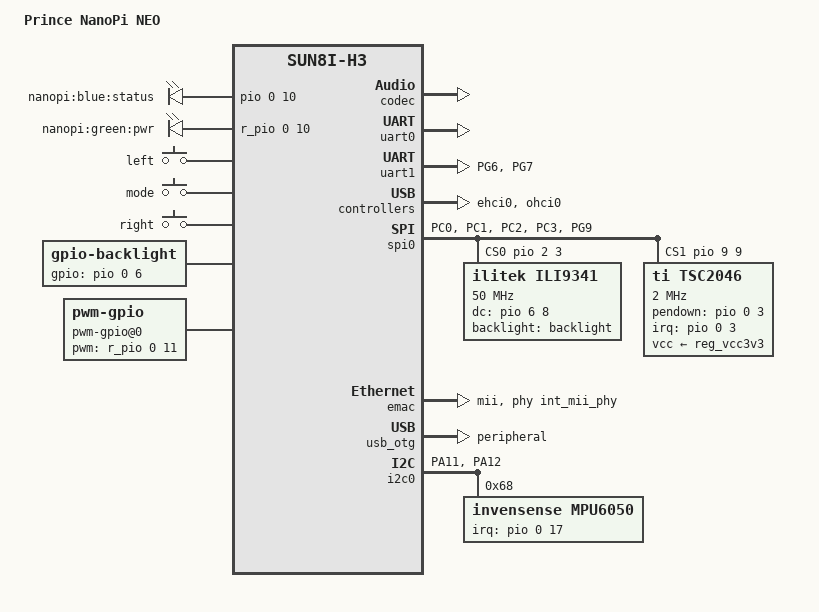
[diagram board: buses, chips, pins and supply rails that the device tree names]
/*
 * Copyright (C) 2016 James Pettigrew <james@innovum.com.au>
 *
 * This file is dual-licensed: you can use it either under the terms
 * of the GPL or the X11 license, at your option. Note that this dual
 * licensing only applies to this file, and not this project as a
 * whole.
 *
 *  a) This file is free software; you can redistribute it and/or
 *     modify it under the terms of the GNU General Public License as
 *     published by the Free Software Foundation; either version 2 of the
 *     License, or (at your option) any later version.
 *
 *     This file is distributed in the hope that it will be useful,
 *     but WITHOUT ANY WARRANTY; without even the implied warranty of
 *     MERCHANTABILITY or FITNESS FOR A PARTICULAR PURPOSE.  See the
 *     GNU General Public License for more details.
 *
 * Or, alternatively,
 *
 *  b) Permission is hereby granted, free of charge, to any person
 *     obtaining a copy of this software and associated documentation
 *     files (the "Software"), to deal in the Software without
 *     restriction, including without limitation the rights to use,
 *     copy, modify, merge, publish, distribute, sublicense, and/or
 *     sell copies of the Software, and to permit persons to whom the
 *     Software is furnished to do so, subject to the following
 *     conditions:
 *
 *     The above copyright notice and this permission notice shall be
 *     included in all copies or substantial portions of the Software.
 *
 *     THE SOFTWARE IS PROVIDED "AS IS", WITHOUT WARRANTY OF ANY KIND,
 *     EXPRESS OR IMPLIED, INCLUDING BUT NOT LIMITED TO THE WARRANTIES
 *     OF MERCHANTABILITY, FITNESS FOR A PARTICULAR PURPOSE AND
 *     NONINFRINGEMENT. IN NO EVENT SHALL THE AUTHORS OR COPYRIGHT
 *     HOLDERS BE LIABLE FOR ANY CLAIM, DAMAGES OR OTHER LIABILITY,
 *     WHETHER IN AN ACTION OF CONTRACT, TORT OR OTHERWISE, ARISING
 *     FROM, OUT OF OR IN CONNECTION WITH THE SOFTWARE OR THE USE OR
 *     OTHER DEALINGS IN THE SOFTWARE.
 */

#include "sun8i-h3-nanopi.dtsi"
#include <dt-bindings/pwm/pwm.h>
#include <dt-bindings/gpio/gpio.h>
#include <dt-bindings/input/input.h>

/ {
	model = "Prince NanoPi NEO";
	compatible = "friendlyarm,nanopi-neo", "allwinner,sun8i-h3";

	aliases {
		serial0 = &uart0;
		serial1 = &uart1;
	};

	chosen {
		stdout-path = "serial1:115200n8";
		/delete-node/ framebuffer@0;
	};

	soc {
		codec: codec@1c22c00 {
			#sound-dai-cells = <0>;
			compatible = "allwinner,sun8i-h3-codec";
			reg = <0x01c22c00 0x400>;
			interrupts = <GIC_SPI 29 IRQ_TYPE_LEVEL_HIGH>;
			clocks = <&ccu CLK_BUS_CODEC>, <&ccu CLK_AC_DIG>;
			clock-names = "apb", "codec";
			resets = <&ccu RST_BUS_CODEC>;
			dmas = <&dma 15>, <&dma 15>;
			dma-names = "rx", "tx";
			allwinner,codec-analog-controls = <&codec_analog>;
			status = "disabled";
		};

		codec_analog: codec-analog@1f015c0 {
			compatible = "allwinner,sun8i-h3-codec-analog";
			reg = <0x01f015c0 0x4>;
		};
	};

	leds {
		compatible = "gpio-leds";

		status {
			label = "nanopi:blue:status";
			gpios = <&pio 0 10 GPIO_ACTIVE_HIGH>;
			linux,default-trigger = "heartbeat";
		};

		pwr {
			label = "nanopi:green:pwr";
			gpios = <&r_pio 0 10 GPIO_ACTIVE_HIGH>;
			default-state = "on";
			linux,default-trigger = "timer";
		};
	};

	gpio-keys {
		compatible = "gpio-keys";
		#address-cells = <1>;
		#size-cells = <0>;
		autorepeat;

		switch@0 {
			label = "left";
			linux,code = <103>;
			interrupt-parent = <&pio>;
			interrupts = <0 2 IRQ_TYPE_EDGE_BOTH>; // PA2
		};

		switch@1 {
			label = "mode";
			linux,code = <104>;
			interrupt-parent = <&pio>;
			interrupts = <6 11 IRQ_TYPE_EDGE_BOTH>; // PG11
		};

		switch@2 {
			label = "right";
			linux,code = <105>;
			interrupt-parent = <&pio>;
			interrupts = <0 4 IRQ_TYPE_EDGE_BOTH>;// PA4
		};
	};

	backlight: backlight {
		compatible = "gpio-backlight";
		pinctrl-names = "default";
		pinctrl-0 = <&backlight_pins>;

		gpios = <&pio 0 6 GPIO_ACTIVE_HIGH>; // PA6
		backlight-boot-on;
	};

	pwm-gpio@0 {
		compatible = "pwm-gpio";
		reg = <0>;
		#pwm-cells = <3>;
		pwm-gpio = <&r_pio 0 11 GPIO_ACTIVE_HIGH>; // PL11
	};
};

&uart0 {
	pinctrl-names = "default";
	pinctrl-0 = <&uart0_pa_pins>;
	status = "okay";
};

&uart1 {
	pinctrl-names = "default";
	pinctrl-0 = <&uart1_pins>;
	status = "okay";
};

&ehci0 {
	status = "okay";
};

&spi0 {
	#address-cells = <1>;
	#size-cells = <0>;
    pinctrl-names = "default";
    pinctrl-0 = <&spi0_pins &spi0_pins_cs1>;
	spi-num-chipselects = <2>;
	cs-gpios = <&pio 2 3 GPIO_ACTIVE_HIGH>, <&pio 9 9 GPIO_ACTIVE_HIGH>; // PC3 PG9
    status = "okay";

	ili9341@0 {
		compatible = "ilitek,ili9341";
		reg = <0>;
		status = "okay";
		spi-max-frequency = <50000000>;
		rotate = <270>;
		bgr;
		fps = <30>;
		buswidth = <8>;
		dc-gpios = <&pio 6 8 GPIO_ACTIVE_HIGH>;// PG8
		debug = <0>;
		backlight = <&backlight>;
	};

	tsc2046@1 {
		reg = <1>;	/* CS1 */
		compatible = "ti,tsc2046";
		pinctrl-names = "default";
		pinctrl-0 = <&t_irq>;
		interrupt-parent = <&pio>;
		interrupts = <0 3 IRQ_TYPE_EDGE_FALLING>;	//PA3
		spi-max-frequency = <2000000>;
		pendown-gpio = <&pio 0 3 GPIO_ACTIVE_HIGH>;
		vcc-supply = <&reg_vcc3v3>;

		ti,x-min = /bits/ 16 <0>;
		ti,x-max = /bits/ 16 <320>;
		ti,y-min = /bits/ 16 <0>;
		ti,y-max = /bits/ 16 <240>;
		ti,x-plate-ohms = /bits/ 16 <40>;
		ti,pressure-max = /bits/ 16 <255>;

		wakeup-source;
		status = "okay";
	};
};

&emac {
	phy-handle = <&int_mii_phy>;
	phy-mode = "mii";
	allwinner,leds-active-low;
	local-mac-address = [a4 51 29 00 00 07];
	status = "okay";
};

&ohci0 {
	status = "okay";
};

&usb_otg {
	status = "okay";
	dr_mode = "peripheral";
};

&usbphy {
	usb0_id_det-gpios = <&pio 6 12 GPIO_ACTIVE_HIGH>; /* PG12 */
};

&pwm {
	pinctrl-names = "default";
	pinctrl-0 = <&pwm0_pins>;
	status = "disabled";
};

&pio {
	spi0_pins: spi0-pins {
		pins = "PC0", "PC1", "PC2", "PC3";
		function = "spi0";
   	};

	pwm0_pins: pwm0 {
        pins = "PA5";
        function = "pwm0";
		drive-strength = <30>;
	};

	spi0_pins_cs1: spi0_pins_cs1 {
		pins = "PC3", "PG9";
		function = "gpio_out";
	};

	uart1_pins: uart1-pins {
		pins = "PG6", "PG7";
		function = "uart1";
	};

	backlight_pins: backlight-pins {
		pins = "PA6";
		function = "gpio_out";
		drive-strength = <30>;
	};

	i2c0_pins: i2c0-pins {
		pins = "PA11", "PA12";
		function = "i2c0";
	};

	t_irq: t_irq-pins {
		pins = "PA3";
		function = "gpio_in";
	};
};

&codec {
	allwinner,audio-routing =
		"Line Out", "LINEOUT",
		"MIC1", "Mic",
		"Mic",  "MBIAS";
	status = "okay";
};

&i2c0 {
	status = "okay";
	pinctrl-names = "default";
    pinctrl-0 = <&i2c0_pins>;

	mpu6050@68 {
		compatible = "invensense,mpu6050";
		reg = <0x68>;
		status = "okay";
		interrupt-parent = <&pio>;
		interrupts = <0 17 IRQ_TYPE_EDGE_RISING>; // PA17
		mount-matrix = "-0.984807753012208",  /* x0 */
		               "0",                   /* y0 */
		               "-0.173648177666930",  /* z0 */
		               "0",                   /* x1 */
		               "-1",                  /* y1 */
		               "0",                   /* z1 */
		               "-0.173648177666930",  /* x2 */
		               "0",                   /* y2 */
		               "0.984807753012208";   /* z2 */
	};

	mpu9250: imu@68 {
		compatible = "invensense,mpu9250";
		reg = <0x68>;
		status = "disabled";
		interrupt-parent = <&pio>;
		interrupts = <0 17 IRQ_TYPE_EDGE_RISING>;
		i2c-gate {
			#address-cells = <1>;
			#size-cells = <0>;
			ax8975@c {
				compatible = "ak,ak8975";
				reg = <0x0c>;
			};
		};
		/*invensense,int_config = <0x10>;
		invensense,level_shifter = <0>;
		invensense,orientation = [01 00 00 00 01 00 00 00 01];
		invensense,sec_slave_type = <0>;
		invensense,key = [4e cc 7e eb f6 1e 35 22 00 34 0d 65 32 e9 94 89];*/
	};

	bmp280: pressure@76 {
		compatible = "bosch,bmp280";
		reg = <0x76>;
		status = "disabled";
	};
};
